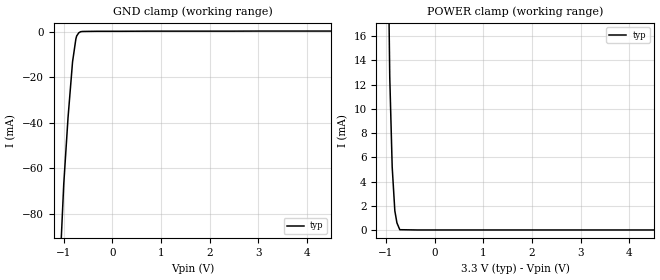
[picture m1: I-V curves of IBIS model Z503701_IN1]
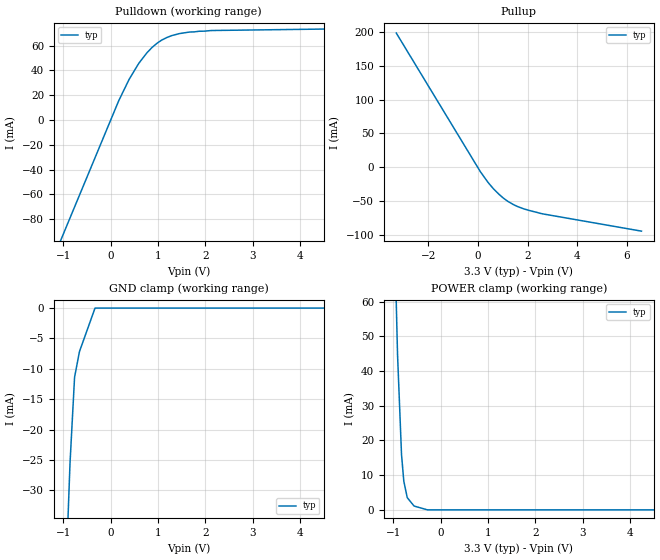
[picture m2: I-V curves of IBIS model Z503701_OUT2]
| YOU ARE ONLY AUTHORIZED TO USE THIS SOFTWARE
| ACCORDING TO LICENSOR'S LICENSE RESTRICTIONS.
[IBIS Ver] 3.1
[File Name] mc74ac04n_33.ibs
[File Rev] 2.0
[Source] Measured and created by ICX Technology
[Date] Friday 7/14/00 9:07:58 AM
[Copyright]
| (C) COPYRIGHT 1993-2000
| MENTOR GRAPHICS CORPORATION
| ICX STANDARD LIBRARY, ICX PROJECT MODELING,
| ICX CUSTOM MODELING, ICX VENDOR MODEL
| ALL RIGHTS RESERVED.
| THE FOLLOWING ARE TRADEMARKS OR SERVICE MARKS OF
| MENTOR GRAPHICS CORPORATION:ICX (R), ICX STANDARD
| LIBRARY(R), ICX PROJECT MODELING(R), ICX CUSTOM
| MODELING(R), qualityIBIS(TM), MODELVIEWER(TM),
| AND MODELEDITOR(TM)
| ALL COPIES OF SOFTWARE, INCLUDING BUT NOT LIMITED TO
| ANY MODIFICATIONS, ENHANCEMENTS OR DERIVATIVE WORKS,
| MUST CONTAIN ALL MENTOR GRAPHICS CORPORATION'S
| NOTICES AND LEGENDS, INCLUDING THOSE EMBEDDED IN
| SOFTWARE AND THOSE AFFIXED TO SOFTWARE MEDIUM
| AND CONTAINER, AS RECEIVED FROM MENTOR GRAPHICS
| CORPORATION.
|  ZAP Model Builder 2.7
[Component] MC74AC04N_33
[Manufacturer] OnSemiconductor
[Package]
| variable   typ   min   max
R_pkg  .21ohms NA NA
L_pkg  4.543nH NA NA
C_pkg  1.059pF NA NA
[Pin] signal_name  model_name  R_pin  L_pin C_pin
1 A0 Z503701_IN1 .22 6.757n 1.432p
2 Y0 Z503701_OUT2 .212 4.757n 1.142p
3 A1 Z503701_IN1 .204 3.257n .852p
4 Y1 Z503701_OUT2 .196 2.257n .562p
5 A2 Z503701_IN1 .204 3.257n .852p
6 Y2 Z503701_OUT2 .212 4.757n 1.142p
7 GND GND .22 6.757n 1.432p
8 Y5 Z503701_OUT2 .22 6.757n 1.432p
9 A5 Z503701_IN1 .212 4.757n 1.142p
10 Y4 Z503701_OUT2 .204 3.257n .852p
11 A4 Z503701_IN1 .196 2.257n .562p
12 Y3 Z503701_OUT2 .204 3.257n .852p
13 A3 Z503701_IN1 .212 4.757n 1.142p
14 VCC POWER .22 6.757n 1.432p
| Models and submodels in the file (2): Z503701_IN1 (Input), Z503701_OUT2 (Output)
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| (C) COPYRIGHT 1993-2000
| MENTOR GRAPHICS CORPORATION
| ICX STANDARD LIBRARY, ICX PROJECT MODELING,
| ICX CUSTOM MODELING, ICX VENDOR MODEL
| ALL RIGHTS RESERVED.
| THE FOLLOWING ARE TRADEMARKS OR SERVICE MARKS OF
| MENTOR GRAPHICS CORPORATION:ICX (R), ICX STANDARD
| LIBRARY(R), ICX PROJECT MODELING(R), ICX CUSTOM
| MODELING(R), qualityIBIS(TM), MODELVIEWER(TM),
| AND MODELEDITOR(TM)
| ALL COPIES OF SOFTWARE, INCLUDING BUT NOT LIMITED TO
| ANY MODIFICATIONS, ENHANCEMENTS OR DERIVATIVE WORKS,
| MUST CONTAIN ALL MENTOR GRAPHICS CORPORATION'S
| NOTICES AND LEGENDS, INCLUDING THOSE EMBEDDED IN
| SOFTWARE AND THOSE AFFIXED TO SOFTWARE MEDIUM
| AND CONTAINER, AS RECEIVED FROM MENTOR GRAPHICS
| CORPORATION.
| Model Application Version 1.89 2/18/99.
[Model] Z503701_IN1
Model_type Input
Vinl = 990.0mV
Vinh = 2.310V
C_comp 4.000pF NA NA
| variable typ   min   max
[Voltage Range] 3.300V NA NA
[GND Clamp Reference] 0.000V NA NA
[POWER Clamp Reference] 3.300V NA NA
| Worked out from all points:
|   GND clamp passes 1 mA (typ) near -0.70 V on its own axis
|   POWER clamp passes 1 mA (typ) near -0.79 V on its own axis
[GND Clamp]
-3.3V     -1.702A    NA         NA
-1.05V    -92.26mA   NA         NA
-996.1mV  -67.07mA   NA         NA
-908.3mV  -37.84mA   NA         NA
-815.4mV  -13.29mA   NA         NA
-747.2mV  -3.213mA   NA         NA
-730.7mV  -1.883mA   NA         NA
-687.2mV  -479.2uA   NA         NA
-648.5mV  -4.247uA   NA         NA
6.6V      276.5uA    NA         NA
[POWER Clamp]
-3.3V     1.754A     NA         NA
-1.138V   111.4mA    NA         NA
-1.016V   41.63mA    NA         NA
-924mV    12.63mA    NA         NA
-874mV    5.205mA    NA         NA
-820mV    1.589mA    NA         NA
-777mV    590.4uA    NA         NA
-718mV    22.5uA     NA         NA
-359mV    0A         NA         NA
6.6V      0A         NA         NA
| (C) COPYRIGHT 1993-2000
| MENTOR GRAPHICS CORPORATION
| ICX STANDARD LIBRARY, ICX PROJECT MODELING,
| ICX CUSTOM MODELING, ICX VENDOR MODEL
| ALL RIGHTS RESERVED.
| THE FOLLOWING ARE TRADEMARKS OR SERVICE MARKS OF
| MENTOR GRAPHICS CORPORATION:ICX (R), ICX STANDARD
| LIBRARY(R), ICX PROJECT MODELING(R), ICX CUSTOM
| MODELING(R), qualityIBIS(TM), MODELVIEWER(TM),
| AND MODELEDITOR(TM)
| ALL COPIES OF SOFTWARE, INCLUDING BUT NOT LIMITED TO
| ANY MODIFICATIONS, ENHANCEMENTS OR DERIVATIVE WORKS,
| MUST CONTAIN ALL MENTOR GRAPHICS CORPORATION'S
| NOTICES AND LEGENDS, INCLUDING THOSE EMBEDDED IN
| SOFTWARE AND THOSE AFFIXED TO SOFTWARE MEDIUM
| AND CONTAINER, AS RECEIVED FROM MENTOR GRAPHICS
| CORPORATION.
| Model Application Version 1.89 2/18/99.
[Model] Z503701_OUT2
Model_type Output
Vref=0.000V
Rref=500.0ohms
Cref=50.00pF
Vmeas=1.650V
C_comp 8.000pF NA NA
| variable typ   min   max
[Voltage Range] 3.300V NA NA
[POWER Clamp Reference] 3.300V NA NA
[Pullup Reference] 3.300V NA NA
[Pulldown Reference] 0.000V NA NA
[GND Clamp Reference] 0.000V NA NA
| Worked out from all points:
|   slope of the pulldown table from 0 to 0.495 V, typ, clamps not added: 12.5 ohm
|   slope of the pullup table from 0 to 0.495 V, typ, clamps not added: 19.4 ohm
[GND Clamp]
-3.3V     -424.1mA   NA         NA
-1.095V   -75.77mA   NA         NA
-857.9mV  -25.54mA   NA         NA
-761.7mV  -11.38mA   NA         NA
-658.4mV  -7.161mA   NA         NA
-329.2mV  0A         NA         NA
6.6V      0A         NA         NA
[Pulldown]
-3.3V     -303.2mA   NA         NA
172mV     15.61mA    NA         NA
391.7mV   32.81mA    NA         NA
595.9mV   45.73mA    NA         NA
767.2mV   54.19mA    NA         NA
878.9mV   58.62mA    NA         NA
1.074V    64.33mA    NA         NA
1.192V    66.57mA    NA         NA
1.449V    69.65mA    NA         NA
1.665V    70.93mA    NA         NA
2.148V    72.18mA    NA         NA
6.6V      74.37mA    NA         NA
[Pullup]
-3.3V     198.7mA    NA         NA
93mV      -6.459mA   NA         NA
410mV     -22.68mA   NA         NA
620mV     -31.74mA   NA         NA
1.025V    -45.71mA   NA         NA
1.2V      -50.41mA   NA         NA
1.591V    -58.06mA   NA         NA
2.48V     -67.9mA    NA         NA
6.6V      -94.58mA   NA         NA
[POWER Clamp]
-3.3V     1.599A     NA         NA
-1.07V    130.5mA    NA         NA
-914mV    44.7mA     NA         NA
-830mV    15.96mA    NA         NA
-782mV    8.261mA    NA         NA
-709mV    3.515mA    NA         NA
-565mV    1.102mA    NA         NA
-282.5mV  0A         NA         NA
6.6V      0A         NA         NA
[Ramp]
| variable typ min max
dV/dt_r 1.923/472.7p NA NA
dV/dt_f 1.923/491.9p NA NA
R_load = 500.0Ohms
